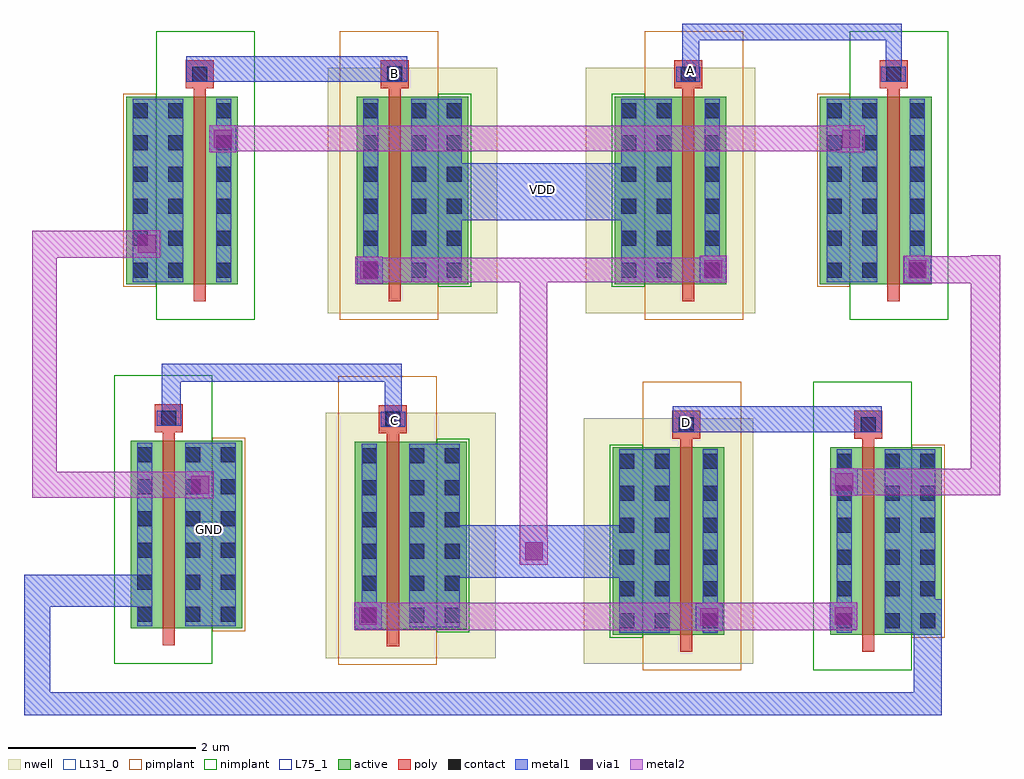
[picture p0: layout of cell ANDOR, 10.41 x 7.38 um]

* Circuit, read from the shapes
.subckt ANDOR A B C D GND VDD
M1 GND C GND GND nfet w=2u l=0.13u
M2 GND B GND GND nfet w=2u l=0.13u
M3 GND D n1 GND nfet w=2u l=0.13u
M4 n1 A GND GND nfet w=2u l=0.13u
M5 n2 C n1 n2 pfet w=2u l=0.13u
M6 VDD B n2 VDD pfet w=2u l=0.13u
M7 n1 D n2 n2 pfet w=2u l=0.13u
M8 n2 A VDD VDD pfet w=2u l=0.13u
.ends

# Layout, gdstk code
from math import pi, radians
import gdstk
lib = gdstk.Library(unit=1e-6, precision=1e-09)
def R(c, l, rs):  # rectangles x0, y0, x1, y1
    for r in rs: c.add(gdstk.rectangle(r[:2], r[2:], *l))
def A(c, l, x, y, w, h, nx, ny, dx, dy):  # array of equal rectangles
    R(c, l, [(x+i*dx, y+j*dy, x+i*dx+w, y+j*dy+h) for i in range(nx) for j in range(ny)])
nwell = (3, 0)
active = (6, 0)
poly = (17, 0)
pimplant = (25, 0)
nimplant = (26, 0)
contact = (30, 0)
metal1 = (31, 0)
metal2 = (32, 0)
via1 = (51, 0)
L75_1 = (75, 1)
L131_0 = (131, 0)

nmos1v_0 = lib.new_cell('nmos1v_0')
R(nmos1v_0, active, [(-0.72,0,0,2), (0,0,0.13,2), (0.13,0,0.47,2)])
R(nmos1v_0, poly, [(0,-0.18,0.13,0), (0,0,0.13,2), (0,2,0.13,2.09), (-0.085,2.09,0.215,2.39)])
R(nmos1v_0, pimplant, [(-0.75,-0.03,-0.4,2.03)])
R(nmos1v_0, nimplant, [(-0.4,-0.38,0.65,2.7)])
A(nmos1v_0, contact, -0.65, 0.07, 0.16, 0.16, 1, 6, 0, 0.34)
A(nmos1v_0, contact, -0.27, 0.07, 0.16, 0.16, 1, 6, 0, 0.34)
A(nmos1v_0, contact, 0.24, 0.07, 0.16, 0.16, 1, 6, 0, 0.34)
R(nmos1v_0, contact, [(-0.015,2.16,0.145,2.32)])
R(nmos1v_0, metal1, [(-0.65,0.02,-0.11,1.98), (-0.65,0.02,-0.11,1.98), (0.24,0.02,0.4,1.98), (-0.065,2.16,0.195,2.32)])
R(nmos1v_0, L75_1, [(-0.72,0,0.47,2)])
nmos1v_0.add(gdstk.Label('& SerialNumber 000000', (0,0), layer=63, texttype=63))
nmos1v_0.add(gdstk.Label('& Distributor TSMC', (0,0), layer=63, texttype=63))
nmos1v_0.add(gdstk.Label('& Metric 1', (0,0), layer=63, texttype=63))
nmos1v_0.add(gdstk.Label('& Version v1.2aP1', (0,0), layer=63, texttype=63))
nmos1v_0.add(gdstk.Label('& Product    tsmc13rf_PDK', (0,0), layer=63, texttype=63))
nmos1v_0.add(gdstk.Label('& Vendor     Taiwan Semiconductor manufacturing Corp.', (0,0), layer=63, texttype=63))

pmos1v_1 = lib.new_cell('pmos1v_1')
R(pmos1v_1, nwell, [(-1.03,-0.31,0.78,2.31)])
R(pmos1v_1, active, [(-0.72,0,0,2), (0,0,0.13,2), (0.13,0,0.47,2)])
R(pmos1v_1, poly, [(0,-0.18,0.13,0), (0,0,0.13,2), (0,2,0.13,2.09), (-0.085,2.09,0.215,2.39)])
R(pmos1v_1, pimplant, [(-0.4,-0.38,0.65,2.7)])
R(pmos1v_1, nimplant, [(-0.75,-0.03,-0.4,2.03)])
A(pmos1v_1, contact, -0.65, 0.07, 0.16, 0.16, 1, 6, 0, 0.34)
A(pmos1v_1, contact, -0.27, 0.07, 0.16, 0.16, 1, 6, 0, 0.34)
A(pmos1v_1, contact, 0.24, 0.07, 0.16, 0.16, 1, 6, 0, 0.34)
R(pmos1v_1, contact, [(-0.015,2.16,0.145,2.32)])
R(pmos1v_1, metal1, [(-0.65,0.02,-0.11,1.98), (-0.65,0.02,-0.11,1.98), (0.24,0.02,0.4,1.98), (-0.065,2.16,0.195,2.32)])
pmos1v_1.add(gdstk.Label('& SerialNumber 000000', (0,0), layer=63, texttype=63))
pmos1v_1.add(gdstk.Label('& Distributor TSMC', (0,0), layer=63, texttype=63))
pmos1v_1.add(gdstk.Label('& Metric 1', (0,0), layer=63, texttype=63))
pmos1v_1.add(gdstk.Label('& Version v1.2aP1', (0,0), layer=63, texttype=63))
pmos1v_1.add(gdstk.Label('& Product    tsmc13rf_PDK', (0,0), layer=63, texttype=63))
pmos1v_1.add(gdstk.Label('& Vendor     Taiwan Semiconductor manufacturing Corp.', (0,0), layer=63, texttype=63))

m2_m1_0 = lib.new_cell('M2_M1_0')
R(m2_m1_0, metal1, [(-0.145,-0.145,0.145,0.145)])
R(m2_m1_0, metal2, [(-0.145,-0.145,0.145,0.145)])
R(m2_m1_0, via1, [(-0.095,-0.095,0.095,0.095)])

andor = lib.new_cell('ANDOR')
R(andor, metal1, [(12.88,-9.4,13.16,-7.9), (12.89,-9.4,22.67,-9.15), (22.37,-9.4,22.67,-8.16), (12.88,-8.24,14.25,-7.9), (17.26,-7.93,19.54,-7.37), (19.8,-6.38,22.03,-6.1), (14.35,-6.27,14.55,-5.65), (16.73,-6.27,16.91,-5.65), (14.35,-5.84,16.91,-5.65), (17.22,-4.12,19.56,-3.51), (14.61,-2.64,16.97,-2.37), (19.9,-2.61,20.08,-2.02), (22.07,-2.61,22.24,-2.02), (19.9,-2.2,22.24,-2.02)])
R(andor, metal2, [(16.41,-8.49,20.33,-8.2), (20.04,-8.49,21.76,-8.2), (18.17,-7.79,18.46,-4.52), (12.97,-7.08,14.89,-6.8), (12.97,-7.08,13.23,-4.24), (21.49,-7.05,23.29,-6.77), (22.98,-7.05,23.29,-4.49), (22.26,-4.79,23.29,-4.5), (16.42,-4.78,20.37,-4.52), (12.97,-4.52,14.33,-4.23), (14.86,-3.38,21.84,-3.11)])
R(andor, L131_0, [(14.78,-7.49,14.94,-7.33), (19.87,-6.35,20.03,-6.19), (16.74,-6.31,16.9,-6.15), (18.34,-3.87,18.5,-3.71), (16.75,-2.63,16.91,-2.47), (19.92,-2.6,20.08,-2.44)])
andor.add(gdstk.Reference(nmos1v_0, (14.49,-8.47), rotation=pi, x_reflection=True))
andor.add(gdstk.Reference(nmos1v_0, (21.95,-8.54), rotation=pi, x_reflection=True))
andor.add(gdstk.Reference(nmos1v_0, (14.69,-4.8)))
andor.add(gdstk.Reference(nmos1v_0, (22.09,-4.8)))
andor.add(gdstk.Reference(pmos1v_1, (16.88,-8.48), rotation=pi, x_reflection=True))
andor.add(gdstk.Reference(pmos1v_1, (16.9,-4.8), rotation=pi, x_reflection=True))
andor.add(gdstk.Reference(pmos1v_1, (19.88,-8.54)))
andor.add(gdstk.Reference(pmos1v_1, (19.9,-4.8)))
andor.add(gdstk.Reference(m2_m1_0, (21.62,-8.34)))
andor.add(gdstk.Reference(m2_m1_0, (22.41,-4.64)))
andor.add(gdstk.Reference(m2_m1_0, (21.63,-6.91)))
andor.add(gdstk.Reference(m2_m1_0, (14.76,-6.94)))
andor.add(gdstk.Reference(m2_m1_0, (14.19,-4.37)))
andor.add(gdstk.Reference(m2_m1_0, (15,-3.25)))
andor.add(gdstk.Reference(m2_m1_0, (21.7,-3.25)))
andor.add(gdstk.Reference(m2_m1_0, (18.32,-7.65)))
andor.add(gdstk.Reference(m2_m1_0, (20.19,-8.35)))
andor.add(gdstk.Reference(m2_m1_0, (16.55,-8.34)))
andor.add(gdstk.Reference(m2_m1_0, (16.56,-4.65)))
andor.add(gdstk.Reference(m2_m1_0, (20.23,-4.64)))
andor.add(gdstk.Label('GND', (14.86,-7.42), layer=131, texttype=0))
andor.add(gdstk.Label('VDD', (18.41,-3.79), layer=131, texttype=0))
andor.add(gdstk.Label('D', (19.95,-6.28), layer=131, texttype=0))
andor.add(gdstk.Label('C', (16.83,-6.25), layer=131, texttype=0))
andor.add(gdstk.Label('B', (16.83,-2.55), layer=131, texttype=0))
andor.add(gdstk.Label('A', (19.99,-2.52), layer=131, texttype=0))

lib.write_gds('ANDOR.gds')
